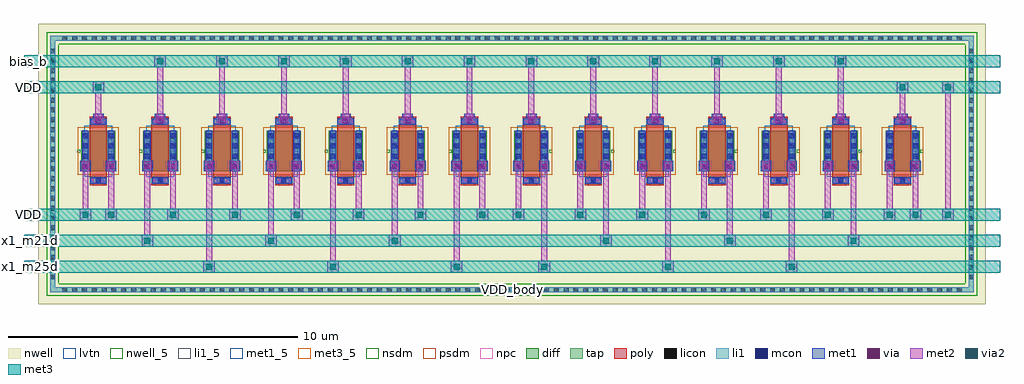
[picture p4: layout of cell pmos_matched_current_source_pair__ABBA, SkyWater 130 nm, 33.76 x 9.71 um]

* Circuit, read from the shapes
.subckt pmos_matched_current_source_pair__ABBA VDD VDD_body bias_b x1_m21d x1_m25d
XM1 VDD VDD VDD VDD_body sky130_fd_pr__pfet_01v8_lvt w=1.4 l=0.6 m=2
XM2 VDD bias_b x1_m21d VDD_body sky130_fd_pr__pfet_01v8_lvt w=1.4 l=0.6 m=6
XM3 VDD bias_b x1_m25d VDD_body sky130_fd_pr__pfet_01v8_lvt w=1.4 l=0.6 m=6
.ends

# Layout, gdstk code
from math import pi, radians
import gdstk
lib = gdstk.Library(unit=1e-6, precision=1e-09)
def R(c, l, rs):  # rectangles x0, y0, x1, y1
    for r in rs: c.add(gdstk.rectangle(r[:2], r[2:], *l))
def A(c, l, x, y, w, h, nx, ny, dx, dy):  # array of equal rectangles
    R(c, l, [(x+i*dx, y+j*dy, x+i*dx+w, y+j*dy+h) for i in range(nx) for j in range(ny)])
nwell_5 = (64, 5)
nwell = (64, 20)
diff = (65, 20)
tap = (65, 44)
poly = (66, 20)
licon = (66, 44)
li1_5 = (67, 5)
li1 = (67, 20)
mcon = (67, 44)
met1_5 = (68, 5)
met1 = (68, 20)
via = (68, 44)
met2 = (69, 20)
via2 = (69, 44)
met3_5 = (70, 5)
met3 = (70, 20)
nsdm = (93, 44)
psdm = (94, 20)
npc = (95, 20)
lvtn = (125, 44)

sky130_fd_pr__pfet_01v8_ = lib.new_cell('sky130_fd_pr__pfet_01v8_lvt_PJ46JE')
R(sky130_fd_pr__pfet_01v8_, nwell, [(-0.77,-1.2,0.77,1.2)])
R(sky130_fd_pr__pfet_01v8_, diff, [(-0.59,-0.7,0.59,0.7)])
R(sky130_fd_pr__pfet_01v8_, poly, [(-0.3,-1.185,0.3,1.185)])
A(sky130_fd_pr__pfet_01v8_, licon, -0.53, -0.595, 0.17, 0.17, 1, 4, 0, 0.34)
A(sky130_fd_pr__pfet_01v8_, licon, 0.36, -0.595, 0.17, 0.17, 1, 4, 0, 0.34)
R(sky130_fd_pr__pfet_01v8_, licon, [(-0.085,-1.105,0.085,-0.935), (-0.085,0.935,0.085,1.105)])
R(sky130_fd_pr__pfet_01v8_, li1, [(-0.3,-1.105,0.3,-0.935), (-0.53,-0.72,-0.36,0.72), (0.36,-0.72,0.53,0.72), (-0.3,0.935,0.3,1.105)])
A(sky130_fd_pr__pfet_01v8_, mcon, -0.53, -0.625, 0.17, 0.17, 1, 4, 0, 0.36)
A(sky130_fd_pr__pfet_01v8_, mcon, 0.36, -0.625, 0.17, 0.17, 1, 4, 0, 0.36)
R(sky130_fd_pr__pfet_01v8_, mcon, [(-0.085,-1.105,0.085,-0.935), (-0.085,0.935,0.085,1.105)])
R(sky130_fd_pr__pfet_01v8_, met1, [(-0.28,-1.135,0.28,-0.905), (-0.56,-0.7,-0.33,0.7), (0.33,-0.7,0.56,0.7), (-0.28,0.905,0.28,1.135)])
R(sky130_fd_pr__pfet_01v8_, psdm, [(-0.715,-0.825,0.715,0.825)])
R(sky130_fd_pr__pfet_01v8_, npc, [(-0.185,-1.205,0.185,-0.835), (-0.185,0.835,0.185,1.205)])
R(sky130_fd_pr__pfet_01v8_, lvtn, [(-0.48,-0.88,0.48,0.88)])
sky130_fd_pr__pfet_01v8_.add(gdstk.Label('D', (-0.445,0), layer=67, texttype=5))
sky130_fd_pr__pfet_01v8_.add(gdstk.Label('S', (0.445,0), layer=67, texttype=5))
sky130_fd_pr__pfet_01v8_.add(gdstk.Label('G', (0,1.02), layer=67, texttype=5))

pfet_01v8_lvt_w1p4_l0p6_ = lib.new_cell('pfet_01v8_lvt_W1p4_L0p6_m6__nf1_gboth_sdfull_ng')
R(pfet_01v8_lvt_w1p4_l0p6_, nwell_5, [(0.05,1.15,0.15,1.25)])
R(pfet_01v8_lvt_w1p4_l0p6_, nwell, [(0.05,1.15,0.15,1.25)])
R(pfet_01v8_lvt_w1p4_l0p6_, met1_5, [(0.21,1.2,0.44,1.4), (1.1,1.2,1.33,1.4), (0.49,2.105,1.05,2.335)])
R(pfet_01v8_lvt_w1p4_l0p6_, met1, [(0.21,1.2,0.44,1.4), (1.1,1.2,1.33,1.4), (0.49,2.105,1.05,2.335)])
pfet_01v8_lvt_w1p4_l0p6_.add(gdstk.Reference(sky130_fd_pr__pfet_01v8_, (0.77,1.2)))
pfet_01v8_lvt_w1p4_l0p6_.add(gdstk.Label('D', (0.325,1.3), layer=68, texttype=5))
pfet_01v8_lvt_w1p4_l0p6_.add(gdstk.Label('S', (1.215,1.3), layer=68, texttype=5))
pfet_01v8_lvt_w1p4_l0p6_.add(gdstk.Label('G', (0.77,2.22), layer=68, texttype=5))
pfet_01v8_lvt_w1p4_l0p6_.add(gdstk.Label('B', (0.1,1.2), layer=64, texttype=5))

pmos_matched_current_sou = lib.new_cell('pmos_matched_current_source_pair__ABBA')
R(pmos_matched_current_sou, nwell, [(-1.3,-4.1,31.46,5.61)])
R(pmos_matched_current_sou, tap, [(-0.885,-3.685,31.045,-3.515), (-0.885,-3.515,-0.715,5.025), (30.875,-3.515,31.045,5.025), (-0.885,5.025,31.045,5.195)])
A(pmos_matched_current_sou, licon, -0.475, -3.685, 0.17, 0.17, 92, 2, 0.34, 8.71)
A(pmos_matched_current_sou, licon, -0.885, -3.24, 0.17, 0.17, 1, 24, 0, 0.34)
A(pmos_matched_current_sou, licon, 30.875, -3.24, 0.17, 0.17, 1, 24, 0, 0.34)
R(pmos_matched_current_sou, li1_5, [(15.03,-3.65,15.13,-3.55)])
R(pmos_matched_current_sou, li1, [(-0.885,-3.685,31.045,-3.515), (-0.885,-3.515,-0.715,5.025), (30.875,-3.515,31.045,5.025), (-0.885,5.025,31.045,5.195)])
A(pmos_matched_current_sou, met1, 0.59, 2.14, 0.36, 0.36, 14, 1, 2.14, 0)
R(pmos_matched_current_sou, met1, [(0.145,0.505,0.505,0.865), (1.035,0.505,1.395,0.865), (2.285,0.505,2.645,0.865), (3.175,0.505,3.535,0.865), (4.425,0.505,4.785,0.865), (5.315,0.505,5.675,0.865), (6.565,0.505,6.925,0.865), (7.455,0.505,7.815,0.865), (8.705,0.505,9.065,0.865), (9.595,0.505,9.955,0.865), (10.845,0.505,11.205,0.865), (11.735,0.505,12.095,0.865), (12.985,0.505,13.345,0.865), (13.875,0.505,14.235,0.865), (15.125,0.505,15.485,0.865), (16.015,0.505,16.375,0.865), (17.265,0.505,17.625,0.865), (18.155,0.505,18.515,0.865), (19.405,0.505,19.765,0.865), (20.295,0.505,20.655,0.865), (21.545,0.505,21.905,0.865), (22.435,0.505,22.795,0.865), (23.685,0.505,24.045,0.865), (24.575,0.505,24.935,0.865), (25.825,0.505,26.185,0.865), (26.715,0.505,27.075,0.865), (27.965,0.505,28.325,0.865), (28.855,0.505,29.215,0.865)])
A(pmos_matched_current_sou, via, 0.695, 2.245, 0.15, 0.15, 14, 1, 2.14, 0)
R(pmos_matched_current_sou, via, [(0.25,0.61,0.4,0.76), (1.14,0.61,1.29,0.76), (2.39,0.61,2.54,0.76), (3.28,0.61,3.43,0.76), (4.53,0.61,4.68,0.76), (5.42,0.61,5.57,0.76), (6.67,0.61,6.82,0.76), (7.56,0.61,7.71,0.76), (8.81,0.61,8.96,0.76), (9.7,0.61,9.85,0.76), (10.95,0.61,11.1,0.76), (11.84,0.61,11.99,0.76), (13.09,0.61,13.24,0.76), (13.98,0.61,14.13,0.76), (15.23,0.61,15.38,0.76), (16.12,0.61,16.27,0.76), (17.37,0.61,17.52,0.76), (18.26,0.61,18.41,0.76), (19.51,0.61,19.66,0.76), (20.4,0.61,20.55,0.76), (21.65,0.61,21.8,0.76), (22.54,0.61,22.69,0.76), (23.79,0.61,23.94,0.76), (24.68,0.61,24.83,0.76), (25.93,0.61,26.08,0.76), (26.82,0.61,26.97,0.76), (28.07,0.61,28.22,0.76), (28.96,0.61,29.11,0.76)])
A(pmos_matched_current_sou, met2, 4.405, -3, 0.4, 0.4, 3, 1, 4.28, 0)
A(pmos_matched_current_sou, met2, 15.995, -3, 0.4, 0.4, 3, 1, 4.28, 0)
A(pmos_matched_current_sou, met2, 4.505, -2.6, 0.2, 3.125, 3, 1, 4.28, 0)
A(pmos_matched_current_sou, met2, 16.095, -2.6, 0.2, 3.125, 3, 1, 4.28, 0)
A(pmos_matched_current_sou, met2, 2.265, -2.1, 0.4, 0.4, 3, 1, 4.28, 0)
A(pmos_matched_current_sou, met2, 18.135, -2.1, 0.4, 0.4, 3, 1, 4.28, 0)
A(pmos_matched_current_sou, met2, 2.365, -1.7, 0.2, 2.225, 3, 1, 4.28, 0)
A(pmos_matched_current_sou, met2, 18.235, -1.7, 0.2, 2.225, 3, 1, 4.28, 0)
A(pmos_matched_current_sou, met2, 1.015, -1.2, 0.4, 0.4, 7, 1, 2.14, 0)
A(pmos_matched_current_sou, met2, 15.105, -1.2, 0.4, 0.4, 7, 1, 2.14, 0)
A(pmos_matched_current_sou, met2, 1.115, -0.8, 0.2, 1.325, 7, 1, 2.14, 0)
A(pmos_matched_current_sou, met2, 15.205, -0.8, 0.2, 1.325, 7, 1, 2.14, 0)
A(pmos_matched_current_sou, met2, 0.64, 2.16, 0.26, 0.32, 14, 1, 2.14, 0)
A(pmos_matched_current_sou, met2, 2.81, 2.48, 0.2, 1.63, 12, 1, 2.14, 0)
A(pmos_matched_current_sou, met2, 2.71, 4.11, 0.4, 0.4, 12, 1, 2.14, 0)
R(pmos_matched_current_sou, met2, [(0.125,-1.2,0.525,-0.8), (28.835,-1.2,29.235,-0.8), (29.96,-1.2,30.36,-0.8), (0.225,-0.8,0.425,0.525), (28.935,-0.8,29.135,0.525), (30.06,-0.8,30.26,3.21), (0.195,0.525,0.455,0.845), (1.085,0.525,1.345,0.845), (2.335,0.525,2.595,0.845), (3.225,0.525,3.485,0.845), (4.475,0.525,4.735,0.845), (5.365,0.525,5.625,0.845), (6.615,0.525,6.875,0.845), (7.505,0.525,7.765,0.845), (8.755,0.525,9.015,0.845), (9.645,0.525,9.905,0.845), (10.895,0.525,11.155,0.845), (11.785,0.525,12.045,0.845), (13.035,0.525,13.295,0.845), (13.925,0.525,14.185,0.845), (15.175,0.525,15.435,0.845), (16.065,0.525,16.325,0.845), (17.315,0.525,17.575,0.845), (18.205,0.525,18.465,0.845), (19.455,0.525,19.715,0.845), (20.345,0.525,20.605,0.845), (21.595,0.525,21.855,0.845), (22.485,0.525,22.745,0.845), (23.735,0.525,23.995,0.845), (24.625,0.525,24.885,0.845), (25.875,0.525,26.135,0.845), (26.765,0.525,27.025,0.845), (28.015,0.525,28.275,0.845), (28.905,0.525,29.165,0.845), (0.67,2.48,0.87,3.21), (28.49,2.48,28.69,3.21), (0.57,3.21,0.97,3.61), (28.39,3.21,28.79,3.61), (29.96,3.21,30.36,3.61)])
A(pmos_matched_current_sou, via2, 4.505, -2.9, 0.2, 0.2, 3, 1, 4.28, 0)
A(pmos_matched_current_sou, via2, 16.095, -2.9, 0.2, 0.2, 3, 1, 4.28, 0)
A(pmos_matched_current_sou, via2, 2.365, -2, 0.2, 0.2, 3, 1, 4.28, 0)
A(pmos_matched_current_sou, via2, 18.235, -2, 0.2, 0.2, 3, 1, 4.28, 0)
A(pmos_matched_current_sou, via2, 1.115, -1.1, 0.2, 0.2, 7, 1, 2.14, 0)
A(pmos_matched_current_sou, via2, 15.205, -1.1, 0.2, 0.2, 7, 1, 2.14, 0)
A(pmos_matched_current_sou, via2, 2.81, 4.21, 0.2, 0.2, 12, 1, 2.14, 0)
R(pmos_matched_current_sou, via2, [(0.225,-1.1,0.425,-0.9), (28.935,-1.1,29.135,-0.9), (30.06,-1.1,30.26,-0.9), (0.67,3.31,0.87,3.51), (28.49,3.31,28.69,3.51), (30.06,3.31,30.26,3.51)])
A(pmos_matched_current_sou, met3_5, -1.7, -2.85, 0.1, 0.1, 1, 3, 0, 0.9)
R(pmos_matched_current_sou, met3_5, [(-1.7,3.36,-1.6,3.46), (-1.7,4.26,-1.6,4.36)])
A(pmos_matched_current_sou, met3, -1.8, -3, 33.76, 0.4, 1, 3, 0, 0.9)
R(pmos_matched_current_sou, met3, [(-1.8,3.21,31.96,3.61), (-1.8,4.11,31.96,4.51)])
R(pmos_matched_current_sou, nsdm, [(-1.01,-3.81,31.17,-3.39), (-1.01,-3.39,-0.59,4.9), (30.75,-3.39,31.17,4.9), (-1.01,4.9,31.17,5.32)])
pmos_matched_current_sou.add(gdstk.Reference(pfet_01v8_lvt_w1p4_l0p6_, (29.36,0), rotation=pi, x_reflection=True))
pmos_matched_current_sou.add(gdstk.Reference(pfet_01v8_lvt_w1p4_l0p6_, (27.22,0), rotation=pi, x_reflection=True))
pmos_matched_current_sou.add(gdstk.Reference(pfet_01v8_lvt_w1p4_l0p6_, (25.08,0), rotation=pi, x_reflection=True))
pmos_matched_current_sou.add(gdstk.Reference(pfet_01v8_lvt_w1p4_l0p6_, (22.94,0), rotation=pi, x_reflection=True))
pmos_matched_current_sou.add(gdstk.Reference(pfet_01v8_lvt_w1p4_l0p6_, (20.8,0), rotation=pi, x_reflection=True))
pmos_matched_current_sou.add(gdstk.Reference(pfet_01v8_lvt_w1p4_l0p6_, (18.66,0), rotation=pi, x_reflection=True))
pmos_matched_current_sou.add(gdstk.Reference(pfet_01v8_lvt_w1p4_l0p6_, (16.52,0), rotation=pi, x_reflection=True))
pmos_matched_current_sou.add(gdstk.Reference(pfet_01v8_lvt_w1p4_l0p6_, (12.84,0)))
pmos_matched_current_sou.add(gdstk.Reference(pfet_01v8_lvt_w1p4_l0p6_, (10.7,0)))
pmos_matched_current_sou.add(gdstk.Reference(pfet_01v8_lvt_w1p4_l0p6_, (8.56,0)))
pmos_matched_current_sou.add(gdstk.Reference(pfet_01v8_lvt_w1p4_l0p6_, (6.42,0)))
pmos_matched_current_sou.add(gdstk.Reference(pfet_01v8_lvt_w1p4_l0p6_, (4.28,0)))
pmos_matched_current_sou.add(gdstk.Reference(pfet_01v8_lvt_w1p4_l0p6_, (2.14,0)))
pmos_matched_current_sou.add(gdstk.Reference(pfet_01v8_lvt_w1p4_l0p6_, (0,0)))
pmos_matched_current_sou.add(gdstk.Label('VDD', (-1.65,3.41), layer=70, texttype=5))
pmos_matched_current_sou.add(gdstk.Label('bias_b', (-1.65,4.31), layer=70, texttype=5))
pmos_matched_current_sou.add(gdstk.Label('VDD', (-1.65,-1), layer=70, texttype=5))
pmos_matched_current_sou.add(gdstk.Label('x1_m21d', (-1.65,-1.9), layer=70, texttype=5))
pmos_matched_current_sou.add(gdstk.Label('x1_m25d', (-1.65,-2.8), layer=70, texttype=5))
pmos_matched_current_sou.add(gdstk.Label('VDD_body', (15.08,-3.6), layer=67, texttype=5))

lib.write_gds('pmos_matched_current_source_pair__ABBA.gds')
